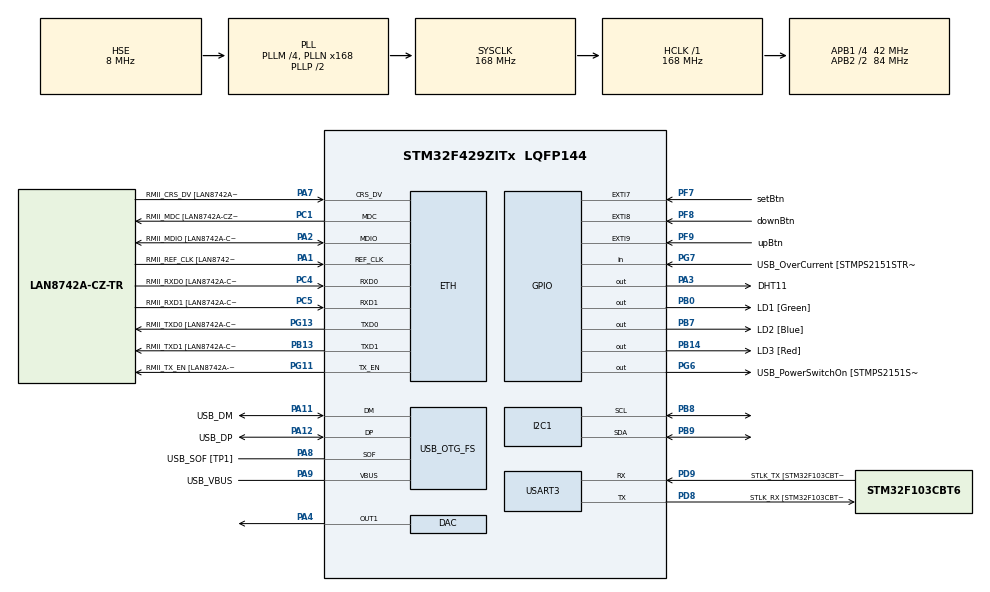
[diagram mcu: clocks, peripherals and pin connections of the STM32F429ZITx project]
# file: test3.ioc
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ADC1.Channel-4\#ChannelRegularConversion=ADC_CHANNEL_TEMPSENSOR
ADC1.NbrOfConversionFlag=1
ADC1.Rank-4\#ChannelRegularConversion=1
ADC1.SamplingTime-4\#ChannelRegularConversion=ADC_SAMPLETIME_3CYCLES
ADC1.master=1
ETH.MediaInterface=HAL_ETH_RMII_MODE
ETH.PHY_Name=LAN8742A_PHY_ADDRESS
ETH.PHY_Value=0
ETH.PhyAddress=0
Mcu.Family=STM32F4
Mcu.Name=STM32F429ZITx
Mcu.Package=LQFP144
NVIC.EXTI9_5_IRQn=true\:0\:0\:false\:true\:true\:1\:true\:true\:true
NVIC.PriorityGroup=NVIC_PRIORITYGROUP_4
NVIC.TIM2_IRQn=true\:0\:0\:false\:true\:true\:2\:true\:true\:true
PA1.GPIO_Label=RMII_REF_CLK [LAN8742A-CZ-TR_REFCLK0]
PA1.Mode=RMII
PA1.Signal=ETH_REF_CLK
PA10.GPIO_Label=USB_ID
PA10.Signal=USB_OTG_FS_ID
PA11.GPIO_Label=USB_DM
PA11.Mode=Device_Only
PA11.Signal=USB_OTG_FS_DM
PA12.GPIO_Label=USB_DP
PA12.Mode=Device_Only
PA12.Signal=USB_OTG_FS_DP
PA13.GPIO_Label=TMS
PA13.Mode=Serial_Wire
PA13.Signal=SYS_JTMS-SWDIO
PA14.GPIO_Label=TCK
PA14.Mode=Serial_Wire
PA14.Signal=SYS_JTCK-SWCLK
PA2.GPIO_Label=RMII_MDIO [LAN8742A-CZ-TR_MDIO]
PA2.Mode=RMII
PA2.Signal=ETH_MDIO
PA3.GPIO_Label=DHT11
PA3.PinState=GPIO_PIN_SET
PA3.Signal=GPIO_Output
PA4.Signal=COMP_DAC1_group
PA7.GPIO_Label=RMII_CRS_DV [LAN8742A-CZ-TR_CRS_DV]
PA7.Mode=RMII
PA7.Signal=ETH_CRS_DV
PA8.GPIO_Label=USB_SOF [TP1]
PA8.Mode=Activate_SOF_FS
PA8.Signal=USB_OTG_FS_SOF
PA9.GPIO_Label=USB_VBUS
PA9.Mode=Activate_VBUS
PA9.Signal=USB_OTG_FS_VBUS
PB0.GPIO_Label=LD1 [Green]
PB0.Signal=GPIO_Output
PB13.GPIO_Label=RMII_TXD1 [LAN8742A-CZ-TR_TXD1]
PB13.Mode=RMII
PB13.Signal=ETH_TXD1
PB14.GPIO_Label=LD3 [Red]
PB14.Signal=GPIO_Output
PB7.GPIO_Label=LD2 [Blue]
PB7.Signal=GPIO_Output
PB8.Mode=I2C
PB8.Signal=I2C1_SCL
PB9.Mode=I2C
PB9.Signal=I2C1_SDA
PC1.GPIO_Label=RMII_MDC [LAN8742A-CZ-TR_MDC]
PC1.Mode=RMII
PC1.Signal=ETH_MDC
PC14/OSC32_IN.Mode=LSE-External-Oscillator
PC14/OSC32_IN.Signal=RCC_OSC32_IN
PC15/OSC32_OUT.Mode=LSE-External-Oscillator
PC15/OSC32_OUT.Signal=RCC_OSC32_OUT
PC4.GPIO_Label=RMII_RXD0 [LAN8742A-CZ-TR_RXD0]
PC4.Mode=RMII
PC4.Signal=ETH_RXD0
PC5.GPIO_Label=RMII_RXD1 [LAN8742A-CZ-TR_RXD1]
PC5.Mode=RMII
PC5.Signal=ETH_RXD1
PD8.GPIO_Label=STLK_RX [STM32F103CBT6_PA3]
PD8.Mode=Asynchronous
PD8.Signal=USART3_TX
PD9.GPIO_Label=STLK_TX [STM32F103CBT6_PA2]
PD9.Mode=Asynchronous
PD9.Signal=USART3_RX
PF7.GPIO_Label=setBtn
PF7.GPIO_PuPd=GPIO_PULLUP
PF7.Signal=GPXTI7
PF8.GPIO_Label=downBtn
PF8.GPIO_PuPd=GPIO_PULLUP
PF8.Signal=GPXTI8
PF9.GPIO_Label=upBtn
PF9.GPIO_PuPd=GPIO_PULLUP
PF9.Signal=GPXTI9
PG11.GPIO_Label=RMII_TX_EN [LAN8742A-CZ-TR_TXEN]
PG11.Mode=RMII
PG11.Signal=ETH_TX_EN
PG13.GPIO_Label=RMII_TXD0 [LAN8742A-CZ-TR_TXD0]
PG13.Mode=RMII
PG13.Signal=ETH_TXD0
PG6.GPIO_Label=USB_PowerSwitchOn [STMPS2151STR_EN]
PG6.Signal=GPIO_Output
PG7.GPIO_Label=USB_OverCurrent [STMPS2151STR_FAULT]
PG7.Signal=GPIO_Input
PH0/OSC_IN.GPIO_Label=MCO [STM32F103CBT6_PA8]
PH0/OSC_IN.Mode=HSE-External-Clock-Source
PH0/OSC_IN.Signal=RCC_OSC_IN
PH1/OSC_OUT.Mode=HSE-External-Clock-Source
PH1/OSC_OUT.Signal=RCC_OSC_OUT
ProjectManager.HeapSize=0x200
ProjectManager.StackSize=0x400
ProjectManager.TargetToolchain=STM32CubeIDE
RCC.48MHZClocksFreq_Value=48000000
RCC.AHBFreq_Value=168000000
RCC.APB1CLKDivider=RCC_HCLK_DIV4
RCC.APB1Freq_Value=42000000
RCC.APB1TimFreq_Value=84000000
RCC.APB2CLKDivider=RCC_HCLK_DIV2
RCC.APB2Freq_Value=84000000
RCC.APB2TimCLKDivider=2
RCC.APB2TimFreq_Value=168000000
RCC.CortexFreq_Value=168000000
RCC.HCLKFreq_Value=168000000
RCC.HSE_VALUE=8000000
RCC.HSI_VALUE=16000000
RCC.PLLM=4
RCC.PLLMUL=RCC_PLL_MUL9
RCC.PLLN=168
RCC.PLLQ=7
RCC.PRESCALERUSB=RCC_USBCLKSOURCE_PLL_DIV1_5
RCC.RCC_RTC_Clock_Source=RCC_RTCCLKSOURCE_LSE
RCC.RCC_RTC_Clock_SourceVirtual=RCC_RTCCLKSOURCE_LSE
RCC.SYSCLKFreq_VALUE=168000000
RCC.SYSCLKSource=RCC_SYSCLKSOURCE_PLLCLK
RCC.SYSCLKSourceVirtual=RCC_SYSCLKSOURCE_PLLCLK
RCC.USBFreq_Value=48000000
RCC.VCOOutputFreq_Value=336000000
RTC.Date=31
RTC.HourFormat=RTC_HOURFORMAT_12
RTC.Month=RTC_MONTH_OCTOBER
RTC.Year=23
SH.COMP_DAC1_group.0=DAC_OUT1,DAC_OUT1
TIM1.Period=0xffff-1
TIM1.Prescaler=168-1
TIM2.Period=20000-1
TIM2.Prescaler=42000-1
USART3.VirtualMode=VM_ASYNC
USB_OTG_FS.VirtualMode=Device_Only
VP_ADC1_TempSens_Input.Mode=IN-TempSens
VP_RTC_VS_RTC_Activate.Mode=RTC_Enabled
VP_RTC_VS_RTC_Calendar.Mode=RTC_Calendar
VP_TIM1_VS_ClockSourceINT.Mode=Internal
VP_TIM2_VS_ClockSourceINT.Mode=Internal
board=NUCLEO-F429ZI

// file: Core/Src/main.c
/* USER CODE BEGIN Header */
/**
  ******************************************************************************
  * @file           : main.c
  * @brief          : Main program body
  ******************************************************************************
  * @attention
  *
  * Copyright (c) 2023 STMicroelectronics.
  * All rights reserved.
  *
  * This software is licensed under terms that can be found in the LICENSE file
  * in the root directory of this software component.
  * If no LICENSE file comes with this software, it is provided AS-IS.
  *
  ******************************************************************************
  */
/* USER CODE END Header */
#include "main.h"
#include "string.h"

/* USER CODE BEGIN Includes */
#define LCD_ADDR (0x27 << 1)
/* USER CODE END Includes */

ETH_TxPacketConfig TxConfig;
ETH_DMADescTypeDef  DMARxDscrTab[ETH_RX_DESC_CNT]; /* Ethernet Rx DMA Descriptors */
ETH_DMADescTypeDef  DMATxDscrTab[ETH_TX_DESC_CNT]; /* Ethernet Tx DMA Descriptors */

ADC_HandleTypeDef hadc1;

DAC_HandleTypeDef hdac;

ETH_HandleTypeDef heth;

I2C_HandleTypeDef hi2c1;

RTC_HandleTypeDef hrtc;

TIM_HandleTypeDef htim1;
TIM_HandleTypeDef htim2;

UART_HandleTypeDef huart3;

PCD_HandleTypeDef hpcd_USB_OTG_FS;

/* USER CODE BEGIN PV */
extern void I2C_Scan(void);
void init();
/* USER CODE END PV */

void SystemClock_Config(void);
static void MX_GPIO_Init(void);
static void MX_ETH_Init(void);
static void MX_USART3_UART_Init(void);
static void MX_USB_OTG_FS_PCD_Init(void);
static void MX_ADC1_Init(void);
static void MX_DAC_Init(void);
static void MX_RTC_Init(void);
static void MX_TIM1_Init(void);
static void MX_I2C1_Init(void);
static void MX_TIM2_Init(void);
static void MX_NVIC_Init(void);
/* USER CODE BEGIN PFP */

int _write(int file, char *ptr, int len)
{
	HAL_UART_Transmit(&huart3, (uint8_t *)ptr, len, 500);

	return len;
}
int _io_putchar(int ch)
{
	HAL_UART_Transmit(&huart3, (uint8_t *)&ch, 1, 1000);
	return ch;
}

/* USER CODE END PFP */

/* USER CODE BEGIN 0 */

char showTime[30] = {0};
char showDate[30] = {0};
char ampm[2][3] = {"AM", "PM"};
int display_flag = 0;

RTC_TimeTypeDef sTime;
RTC_DateTypeDef sDate;
void get_time(void)
{

	HAL_RTC_GetTime(&hrtc,&sTime, RTC_FORMAT_BIN);
	HAL_RTC_GetDate(&hrtc,&sDate, RTC_FORMAT_BIN);

	sprintf((char*)showTime, "%s %02d : %02d : %02d      ", ampm[sTime.TimeFormat], sTime.Hours, sTime.Minutes, sTime.Seconds);
	sprintf((char *)showDate, "%04d-%02d-%02d         ", 2000 + sDate.Year, sDate.Month, sDate.Date);
}

uint8_t Rh_byte1, Rh_byte2, Temp_byte1, Temp_byte2;
uint16_t SUM, RH, TEMP;

float Temperature = 0;
float Humidity = 0;
uint8_t Presence = 0;

void delay_us(uint16_t time) {
	__HAL_TIM_SET_COUNTER(&htim1, 0);              // ???��머�?? 0?���?????????????? 초기?��
	while((__HAL_TIM_GET_COUNTER(&htim1))<time);   // ?��?��?�� ?��간까�?????????????? ??�??????????????
}
void Set_Pin_Output (GPIO_TypeDef *GPIOx, uint16_t GPIO_Pin)
{
	GPIO_InitTypeDef GPIO_InitStruct = {0};
	GPIO_InitStruct.Pin = GPIO_Pin;
	GPIO_InitStruct.Mode = GPIO_MODE_OUTPUT_PP;
	GPIO_InitStruct.Speed = GPIO_SPEED_FREQ_LOW;
	HAL_GPIO_Init(GPIOx, &GPIO_InitStruct);
}

void Set_Pin_Input (GPIO_TypeDef *GPIOx, uint16_t GPIO_Pin)
{
	GPIO_InitTypeDef GPIO_InitStruct = {0};
	GPIO_InitStruct.Pin = GPIO_Pin;
	GPIO_InitStruct.Mode = GPIO_MODE_INPUT;
	GPIO_InitStruct.Pull = GPIO_PULLUP;
	HAL_GPIO_Init(GPIOx, &GPIO_InitStruct);
}
void DHT11_Start (void)
{
	Set_Pin_Output (DHT11_GPIO_Port, DHT11_Pin);  // set the pin as output
	HAL_GPIO_WritePin (DHT11_GPIO_Port, DHT11_Pin, 0);   // pull the pin low
	delay_us(18000);   // wait for 18ms
	Set_Pin_Input(DHT11_GPIO_Port, DHT11_Pin);    // set as input
}
uint8_t DHT11_Check_Response (void)
{
	uint8_t Response = 0;
	delay_us (40);
	if (!(HAL_GPIO_ReadPin (DHT11_GPIO_Port, DHT11_Pin)))
	{
		delay_us (80);
		if ((HAL_GPIO_ReadPin (DHT11_GPIO_Port, DHT11_Pin))) Response = 1;
		else Response = -1;
	}
	while ((HAL_GPIO_ReadPin (DHT11_GPIO_Port, DHT11_Pin)));   // wait for the pin to go low

	return Response;
}
uint8_t DHT11_Read (void)
{
	uint8_t i,j;
	for (j=0;j<8;j++)
	{
		while (!(HAL_GPIO_ReadPin (DHT11_GPIO_Port, DHT11_Pin)));   // wait for the pin to go high
		delay_us (40);   // wait for 40 us
		if (!(HAL_GPIO_ReadPin (DHT11_GPIO_Port, DHT11_Pin)))   // if the pin is low
		{
			i&= ~(1<<(7-j));   // write 0
		}
		else i|= (1<<(7-j));  // if the pin is high, write 1
		while ((HAL_GPIO_ReadPin (DHT11_GPIO_Port, DHT11_Pin)));  // wait for the pin to go low
	}
	return i;
}

int setmode = 0;

uint32_t current_tick_1;
uint32_t current_tick_2;
uint32_t current_tick_3;
uint32_t old_tick_1;
uint32_t old_tick_2;
uint32_t old_tick_3;

/* USER CODE END 0 */

int main(void)
{

  /* MCU Configuration--------------------------------------------------------*/

  /* Reset of all peripherals, Initializes the Flash interface and the Systick. */
  HAL_Init();

  /* Configure the system clock */
  SystemClock_Config();

  /* Initialize all configured peripherals */
  MX_GPIO_Init();
  MX_ETH_Init();
  MX_USART3_UART_Init();
  MX_USB_OTG_FS_PCD_Init();
  MX_ADC1_Init();
  MX_DAC_Init();
  MX_RTC_Init();
  MX_TIM1_Init();
  MX_I2C1_Init();
  MX_TIM2_Init();

  /* Initialize interrupts */
  MX_NVIC_Init();
  /* USER CODE BEGIN 2 */

  HAL_TIM_Base_Start(&htim1);
  HAL_TIM_Base_Start_IT(&htim2);

  init();

	void setModeCheck(int n) {
		if (n == 1) {
			HAL_GPIO_WritePin(GPIOB, LD1_Pin, 1);
			HAL_GPIO_WritePin(GPIOB, LD2_Pin, 0);
			HAL_GPIO_WritePin(GPIOB, LD3_Pin, 0);
		}
		else if (n == 2) {
			HAL_GPIO_WritePin(GPIOB, LD1_Pin, 0);
			HAL_GPIO_WritePin(GPIOB, LD2_Pin, 1);
			HAL_GPIO_WritePin(GPIOB, LD3_Pin, 0);
		}
		else if (n == 3) {
			HAL_GPIO_WritePin(GPIOB, LD1_Pin, 0);
			HAL_GPIO_WritePin(GPIOB, LD2_Pin, 0);
			HAL_GPIO_WritePin(GPIOB, LD3_Pin, 1);
		}
		else {
			HAL_GPIO_WritePin(GPIOB, LD3_Pin, 0);
		}
	}
  /* USER CODE END 2 */

  /* Infinite loop */
  /* USER CODE BEGIN WHILE */
//  while (1)
//  {
    /* USER CODE END WHILE */

    /* USER CODE BEGIN 3 */

  printf("Hello World !!\r\n");

  while(1)
  {
	  DHT11_Start();
	  Presence = DHT11_Check_Response();
	  Rh_byte1 = DHT11_Read ();
	  Rh_byte2 = DHT11_Read ();
	  Temp_byte1 = DHT11_Read ();
	  Temp_byte2 = DHT11_Read ();
	  SUM = DHT11_Read();

	  TEMP = Temp_byte1;
	  RH = Rh_byte1;

	  Temperature = (float) TEMP;
	  Humidity = (float) RH;

	  char buf[30];
	  sprintf(buf, " %3.1f    %2.1f   ", Temperature, Humidity);

	  printf(buf);
	  printf("\r\n");
	  HAL_Delay(500);

	  HAL_GPIO_WritePin(GPIOB, LD1_Pin|LD3_Pin|LD2_Pin, 1);
	  delay_us(10);
	  HAL_GPIO_WritePin(GPIOB, LD1_Pin|LD3_Pin|LD2_Pin, 0);
	  delay_us(10);

	  if (setmode < 1) get_time();
	  setModeCheck(setmode);

	  if (display_flag == 1) {
		    LCD_SendCommand(LCD_ADDR, 0b10000000);
		    LCD_SendString(LCD_ADDR, showDate);
		    LCD_SendCommand(LCD_ADDR, 0b11000000);
		    LCD_SendString(LCD_ADDR, showTime);
	  }
	  else {
		    LCD_SendCommand(LCD_ADDR, 0b10000000);
		    LCD_SendString(LCD_ADDR, "Temper   Humid       ");
		    LCD_SendCommand(LCD_ADDR, 0b11000000);
		    LCD_SendString(LCD_ADDR, buf);
	  }

  }

  /* USER CODE END 3 */
}

void SystemClock_Config(void)
{
  RCC_OscInitTypeDef RCC_OscInitStruct = {0};
  RCC_ClkInitTypeDef RCC_ClkInitStruct = {0};

  /** Configure the main internal regulator output voltage
  */
  __HAL_RCC_PWR_CLK_ENABLE();
  __HAL_PWR_VOLTAGESCALING_CONFIG(PWR_REGULATOR_VOLTAGE_SCALE1);

  /** Initializes the RCC Oscillators according to the specified parameters
  * in the RCC_OscInitTypeDef structure.
  */
  RCC_OscInitStruct.OscillatorType = RCC_OSCILLATORTYPE_HSE|RCC_OSCILLATORTYPE_LSE;
  RCC_OscInitStruct.HSEState = RCC_HSE_BYPASS;
  RCC_OscInitStruct.LSEState = RCC_LSE_ON;
  RCC_OscInitStruct.PLL.PLLState = RCC_PLL_ON;
  RCC_OscInitStruct.PLL.PLLSource = RCC_PLLSOURCE_HSE;
  RCC_OscInitStruct.PLL.PLLM = 4;
  RCC_OscInitStruct.PLL.PLLN = 168;
  RCC_OscInitStruct.PLL.PLLP = RCC_PLLP_DIV2;
  RCC_OscInitStruct.PLL.PLLQ = 7;
  if (HAL_RCC_OscConfig(&RCC_OscInitStruct) != HAL_OK)
  {
    Error_Handler();
  }

  /** Initializes the CPU, AHB and APB buses clocks
  */
  RCC_ClkInitStruct.ClockType = RCC_CLOCKTYPE_HCLK|RCC_CLOCKTYPE_SYSCLK
                              |RCC_CLOCKTYPE_PCLK1|RCC_CLOCKTYPE_PCLK2;
  RCC_ClkInitStruct.SYSCLKSource = RCC_SYSCLKSOURCE_PLLCLK;
  RCC_ClkInitStruct.AHBCLKDivider = RCC_SYSCLK_DIV1;
  RCC_ClkInitStruct.APB1CLKDivider = RCC_HCLK_DIV4;
  RCC_ClkInitStruct.APB2CLKDivider = RCC_HCLK_DIV2;

  if (HAL_RCC_ClockConfig(&RCC_ClkInitStruct, FLASH_LATENCY_5) != HAL_OK)
  {
    Error_Handler();
  }
}

/**
  * @brief NVIC Configuration.
  * @retval None
  */
static void MX_NVIC_Init(void)
{
  /* EXTI9_5_IRQn interrupt configuration */
  HAL_NVIC_SetPriority(EXTI9_5_IRQn, 0, 0);
  HAL_NVIC_EnableIRQ(EXTI9_5_IRQn);
  /* TIM2_IRQn interrupt configuration */
  HAL_NVIC_SetPriority(TIM2_IRQn, 0, 0);
  HAL_NVIC_EnableIRQ(TIM2_IRQn);
}

static void MX_ADC1_Init(void)
{

  ADC_ChannelConfTypeDef sConfig = {0};

  /** Configure the global features of the ADC (Clock, Resolution, Data Alignment and number of conversion)
  */
  hadc1.Instance = ADC1;
  hadc1.Init.ClockPrescaler = ADC_CLOCK_SYNC_PCLK_DIV4;
  hadc1.Init.Resolution = ADC_RESOLUTION_12B;
  hadc1.Init.ScanConvMode = DISABLE;
  hadc1.Init.ContinuousConvMode = DISABLE;
  hadc1.Init.DiscontinuousConvMode = DISABLE;
  hadc1.Init.ExternalTrigConvEdge = ADC_EXTERNALTRIGCONVEDGE_NONE;
  hadc1.Init.ExternalTrigConv = ADC_SOFTWARE_START;
  hadc1.Init.DataAlign = ADC_DATAALIGN_RIGHT;
  hadc1.Init.NbrOfConversion = 1;
  hadc1.Init.DMAContinuousRequests = DISABLE;
  hadc1.Init.EOCSelection = ADC_EOC_SINGLE_CONV;
  if (HAL_ADC_Init(&hadc1) != HAL_OK)
  {
    Error_Handler();
  }

  /** Configure for the selected ADC regular channel its corresponding rank in the sequencer and its sample time.
  */
  sConfig.Channel = ADC_CHANNEL_TEMPSENSOR;
  sConfig.Rank = 1;
  sConfig.SamplingTime = ADC_SAMPLETIME_3CYCLES;
  if (HAL_ADC_ConfigChannel(&hadc1, &sConfig) != HAL_OK)
  {
    Error_Handler();
  }

}

static void MX_DAC_Init(void)
{

  DAC_ChannelConfTypeDef sConfig = {0};

  /** DAC Initialization
  */
  hdac.Instance = DAC;
  if (HAL_DAC_Init(&hdac) != HAL_OK)
  {
    Error_Handler();
  }

  /** DAC channel OUT1 config
  */
  sConfig.DAC_Trigger = DAC_TRIGGER_NONE;
  sConfig.DAC_OutputBuffer = DAC_OUTPUTBUFFER_ENABLE;
  if (HAL_DAC_ConfigChannel(&hdac, &sConfig, DAC_CHANNEL_1) != HAL_OK)
  {
    Error_Handler();
  }

}

static void MX_ETH_Init(void)
{

   static uint8_t MACAddr[6];

  heth.Instance = ETH;
  MACAddr[0] = 0x00;
  MACAddr[1] = 0x80;
  MACAddr[2] = 0xE1;
  MACAddr[3] = 0x00;
  MACAddr[4] = 0x00;
  MACAddr[5] = 0x00;
  heth.Init.MACAddr = &MACAddr[0];
  heth.Init.MediaInterface = HAL_ETH_RMII_MODE;
  heth.Init.TxDesc = DMATxDscrTab;
  heth.Init.RxDesc = DMARxDscrTab;
  heth.Init.RxBuffLen = 1524;

  if (HAL_ETH_Init(&heth) != HAL_OK)
  {
    Error_Handler();
  }

  memset(&TxConfig, 0 , sizeof(ETH_TxPacketConfig));
  TxConfig.Attributes = ETH_TX_PACKETS_FEATURES_CSUM | ETH_TX_PACKETS_FEATURES_CRCPAD;
  TxConfig.ChecksumCtrl = ETH_CHECKSUM_IPHDR_PAYLOAD_INSERT_PHDR_CALC;
  TxConfig.CRCPadCtrl = ETH_CRC_PAD_INSERT;

}

static void MX_I2C1_Init(void)
{

  hi2c1.Instance = I2C1;
  hi2c1.Init.ClockSpeed = 100000;
  hi2c1.Init.DutyCycle = I2C_DUTYCYCLE_2;
  hi2c1.Init.OwnAddress1 = 0;
  hi2c1.Init.AddressingMode = I2C_ADDRESSINGMODE_7BIT;
  hi2c1.Init.DualAddressMode = I2C_DUALADDRESS_DISABLE;
  hi2c1.Init.OwnAddress2 = 0;
  hi2c1.Init.GeneralCallMode = I2C_GENERALCALL_DISABLE;
  hi2c1.Init.NoStretchMode = I2C_NOSTRETCH_DISABLE;
  if (HAL_I2C_Init(&hi2c1) != HAL_OK)
  {
    Error_Handler();
  }

  /** Configure Analogue filter
  */
  if (HAL_I2CEx_ConfigAnalogFilter(&hi2c1, I2C_ANALOGFILTER_ENABLE) != HAL_OK)
  {
    Error_Handler();
  }

  /** Configure Digital filter
  */
  if (HAL_I2CEx_ConfigDigitalFilter(&hi2c1, 0) != HAL_OK)
  {
    Error_Handler();
  }

}

static void MX_RTC_Init(void)
{

  RTC_TimeTypeDef sTime = {0};
  RTC_DateTypeDef sDate = {0};

  /** Initialize RTC Only
  */
  hrtc.Instance = RTC;
  hrtc.Init.HourFormat = RTC_HOURFORMAT_12;
  hrtc.Init.AsynchPrediv = 127;
  hrtc.Init.SynchPrediv = 255;
  hrtc.Init.OutPut = RTC_OUTPUT_DISABLE;
  hrtc.Init.OutPutPolarity = RTC_OUTPUT_POLARITY_HIGH;
  hrtc.Init.OutPutType = RTC_OUTPUT_TYPE_OPENDRAIN;
  if (HAL_RTC_Init(&hrtc) != HAL_OK)
  {
    Error_Handler();
  }

  /** Initialize RTC and set the Time and Date
  */
  sTime.Hours = 0x1;
  sTime.Minutes = 0x0;
  sTime.Seconds = 0x0;
  sTime.TimeFormat = RTC_HOURFORMAT12_AM;
  sTime.DayLightSaving = RTC_DAYLIGHTSAVING_NONE;
  sTime.StoreOperation = RTC_STOREOPERATION_RESET;
  if (HAL_RTC_SetTime(&hrtc, &sTime, RTC_FORMAT_BCD) != HAL_OK)
  {
    Error_Handler();
  }
  sDate.WeekDay = RTC_WEEKDAY_MONDAY;
  sDate.Month = RTC_MONTH_OCTOBER;
  sDate.Date = 0x31;
  sDate.Year = 0x23;

  if (HAL_RTC_SetDate(&hrtc, &sDate, RTC_FORMAT_BCD) != HAL_OK)
  {
    Error_Handler();
  }

}

static void MX_TIM1_Init(void)
{

  TIM_ClockConfigTypeDef sClockSourceConfig = {0};
  TIM_MasterConfigTypeDef sMasterConfig = {0};

  htim1.Instance = TIM1;
  htim1.Init.Prescaler = 168-1;
  htim1.Init.CounterMode = TIM_COUNTERMODE_UP;
  htim1.Init.Period = 0xffff-1;
  htim1.Init.ClockDivision = TIM_CLOCKDIVISION_DIV1;
  htim1.Init.RepetitionCounter = 0;
  htim1.Init.AutoReloadPreload = TIM_AUTORELOAD_PRELOAD_DISABLE;
  if (HAL_TIM_Base_Init(&htim1) != HAL_OK)
  {
    Error_Handler();
  }
  sClockSourceConfig.ClockSource = TIM_CLOCKSOURCE_INTERNAL;
  if (HAL_TIM_ConfigClockSource(&htim1, &sClockSourceConfig) != HAL_OK)
  {
    Error_Handler();
  }
  sMasterConfig.MasterOutputTrigger = TIM_TRGO_RESET;
  sMasterConfig.MasterSlaveMode = TIM_MASTERSLAVEMODE_DISABLE;
  if (HAL_TIMEx_MasterConfigSynchronization(&htim1, &sMasterConfig) != HAL_OK)
  {
    Error_Handler();
  }

}

static void MX_TIM2_Init(void)
{

  TIM_ClockConfigTypeDef sClockSourceConfig = {0};
  TIM_MasterConfigTypeDef sMasterConfig = {0};

  htim2.Instance = TIM2;
  htim2.Init.Prescaler = 42000-1;
  htim2.Init.CounterMode = TIM_COUNTERMODE_UP;
  htim2.Init.Period = 20000-1;
  htim2.Init.ClockDivision = TIM_CLOCKDIVISION_DIV1;
  htim2.Init.AutoReloadPreload = TIM_AUTORELOAD_PRELOAD_DISABLE;
  if (HAL_TIM_Base_Init(&htim2) != HAL_OK)
  {
    Error_Handler();
  }
  sClockSourceConfig.ClockSource = TIM_CLOCKSOURCE_INTERNAL;
  if (HAL_TIM_ConfigClockSource(&htim2, &sClockSourceConfig) != HAL_OK)
  {
    Error_Handler();
  }
  sMasterConfig.MasterOutputTrigger = TIM_TRGO_RESET;
  sMasterConfig.MasterSlaveMode = TIM_MASTERSLAVEMODE_DISABLE;
  if (HAL_TIMEx_MasterConfigSynchronization(&htim2, &sMasterConfig) != HAL_OK)
  {
    Error_Handler();
  }

}

static void MX_USART3_UART_Init(void)
{

  huart3.Instance = USART3;
  huart3.Init.BaudRate = 115200;
  huart3.Init.WordLength = UART_WORDLENGTH_8B;
  huart3.Init.StopBits = UART_STOPBITS_1;
  huart3.Init.Parity = UART_PARITY_NONE;
  huart3.Init.Mode = UART_MODE_TX_RX;
  huart3.Init.HwFlowCtl = UART_HWCONTROL_NONE;
  huart3.Init.OverSampling = UART_OVERSAMPLING_16;
  if (HAL_UART_Init(&huart3) != HAL_OK)
  {
    Error_Handler();
  }

}

static void MX_USB_OTG_FS_PCD_Init(void)
{

  hpcd_USB_OTG_FS.Instance = USB_OTG_FS;
  hpcd_USB_OTG_FS.Init.dev_endpoints = 4;
  hpcd_USB_OTG_FS.Init.speed = PCD_SPEED_FULL;
  hpcd_USB_OTG_FS.Init.dma_enable = DISABLE;
  hpcd_USB_OTG_FS.Init.phy_itface = PCD_PHY_EMBEDDED;
  hpcd_USB_OTG_FS.Init.Sof_enable = ENABLE;
  hpcd_USB_OTG_FS.Init.low_power_enable = DISABLE;
  hpcd_USB_OTG_FS.Init.lpm_enable = DISABLE;
  hpcd_USB_OTG_FS.Init.vbus_sensing_enable = ENABLE;
  hpcd_USB_OTG_FS.Init.use_dedicated_ep1 = DISABLE;
  if (HAL_PCD_Init(&hpcd_USB_OTG_FS) != HAL_OK)
  {
    Error_Handler();
  }

}

static void MX_GPIO_Init(void)
{
  GPIO_InitTypeDef GPIO_InitStruct = {0};

  /* GPIO Ports Clock Enable */
  __HAL_RCC_GPIOC_CLK_ENABLE();
  __HAL_RCC_GPIOF_CLK_ENABLE();
  __HAL_RCC_GPIOH_CLK_ENABLE();
  __HAL_RCC_GPIOA_CLK_ENABLE();
  __HAL_RCC_GPIOB_CLK_ENABLE();
  __HAL_RCC_GPIOD_CLK_ENABLE();
  __HAL_RCC_GPIOG_CLK_ENABLE();

  /*Configure GPIO pin Output Level */
  HAL_GPIO_WritePin(DHT11_GPIO_Port, DHT11_Pin, GPIO_PIN_SET);

  /*Configure GPIO pin Output Level */
  HAL_GPIO_WritePin(GPIOB, LD1_Pin|LD3_Pin|LD2_Pin, GPIO_PIN_RESET);

  /*Configure GPIO pin Output Level */
  HAL_GPIO_WritePin(USB_PowerSwitchOn_GPIO_Port, USB_PowerSwitchOn_Pin, GPIO_PIN_RESET);

  /*Configure GPIO pins : setBtn_Pin downBtn_Pin upBtn_Pin */
  GPIO_InitStruct.Pin = setBtn_Pin|downBtn_Pin|upBtn_Pin;
  GPIO_InitStruct.Mode = GPIO_MODE_IT_RISING;
  GPIO_InitStruct.Pull = GPIO_PULLUP;
  HAL_GPIO_Init(GPIOF, &GPIO_InitStruct);

  /*Configure GPIO pin : DHT11_Pin */
  GPIO_InitStruct.Pin = DHT11_Pin;
  GPIO_InitStruct.Mode = GPIO_MODE_OUTPUT_PP;
  GPIO_InitStruct.Pull = GPIO_NOPULL;
  GPIO_InitStruct.Speed = GPIO_SPEED_FREQ_LOW;
  HAL_GPIO_Init(DHT11_GPIO_Port, &GPIO_InitStruct);

  /*Configure GPIO pins : LD1_Pin LD3_Pin LD2_Pin */
  GPIO_InitStruct.Pin = LD1_Pin|LD3_Pin|LD2_Pin;
  GPIO_InitStruct.Mode = GPIO_MODE_OUTPUT_PP;
  GPIO_InitStruct.Pull = GPIO_NOPULL;
  GPIO_InitStruct.Speed = GPIO_SPEED_FREQ_LOW;
  HAL_GPIO_Init(GPIOB, &GPIO_InitStruct);

  /*Configure GPIO pin : USB_PowerSwitchOn_Pin */
  GPIO_InitStruct.Pin = USB_PowerSwitchOn_Pin;
  GPIO_InitStruct.Mode = GPIO_MODE_OUTPUT_PP;
  GPIO_InitStruct.Pull = GPIO_NOPULL;
  GPIO_InitStruct.Speed = GPIO_SPEED_FREQ_LOW;
  HAL_GPIO_Init(USB_PowerSwitchOn_GPIO_Port, &GPIO_InitStruct);

  /*Configure GPIO pin : USB_OverCurrent_Pin */
  GPIO_InitStruct.Pin = USB_OverCurrent_Pin;
  GPIO_InitStruct.Mode = GPIO_MODE_INPUT;
  GPIO_InitStruct.Pull = GPIO_NOPULL;
  HAL_GPIO_Init(USB_OverCurrent_GPIO_Port, &GPIO_InitStruct);

}

/* USER CODE BEGIN 4 */
void HAL_GPIO_EXTI_Callback(uint16_t GPIO_Pin) {
	if (HAL_GPIO_ReadPin(GPIOF, setBtn_Pin) == 0) {
		current_tick_1 = HAL_GetTick();
	}
	if (HAL_GPIO_ReadPin(GPIOF, upBtn_Pin) == 0) {
		current_tick_2 = HAL_GetTick();
	}
	if (HAL_GPIO_ReadPin(GPIOF, downBtn_Pin) == 0) {
		current_tick_3 = HAL_GetTick();
	}

	if (HAL_GPIO_ReadPin(GPIOF, setBtn_Pin) == 0
			) {
		setmode++;
		if (setmode == 4)
			setmode = 0;
		old_tick_1 = current_tick_1;
	}

	if (setmode == 0) {
				//				HAL_Delay(490);
	} else if (HAL_GPIO_ReadPin(GPIOF, upBtn_Pin) == 0
		) {
		if (setmode == 1) sTime.Hours = (sTime.Hours + 1) % 13;
		if (setmode == 2) sTime.Minutes = (sTime.Minutes + 1) % 60;
		if (setmode == 3) sTime.Seconds = (sTime.Seconds + 1) % 60;
		if (sTime.Hours < 0 || sTime.Hours > 60) sTime.Hours = 0;
		if (sTime.Minutes < 0 || sTime.Minutes > 60) sTime.Minutes = 0;
		if (sTime.Seconds < 0 || sTime.Seconds > 60) sTime.Seconds = 0;

		HAL_RTC_SetTime(&hrtc, &sTime, RTC_FORMAT_BIN);
		old_tick_2 = current_tick_2;
	} else if (HAL_GPIO_ReadPin(GPIOF, downBtn_Pin) == 0
			) {
		if (setmode == 1) sTime.Hours = (sTime.Hours - 1) % 13;
		if (setmode == 2) sTime.Minutes = (sTime.Minutes - 1) % 60;
		if (setmode == 3) sTime.Seconds = (sTime.Seconds - 1) % 60;
		if (sTime.Hours < 0 || sTime.Hours > 60) sTime.Hours = 0;
		if (sTime.Minutes < 0 || sTime.Minutes > 60) sTime.Minutes = 0;
		if (sTime.Seconds < 0 || sTime.Seconds > 60) sTime.Seconds = 0;
		HAL_RTC_SetTime(&hrtc, &sTime, RTC_FORMAT_BIN);
		old_tick_3 = current_tick_3;
	}

}
void HAL_TIM_PeriodElapsedCallback(TIM_HandleTypeDef *htim) {
	if (htim == &htim2) HAL_GPIO_TogglePin(GPIOB, LD1_Pin);
//	init();
	if (setmode == 0 ) {
		display_flag = (display_flag == 0) ? 1 : 0;
	}
}
/* USER CODE END 4 */

void Error_Handler(void)
{
  __disable_irq();
  while (1)
  {
  }
}
